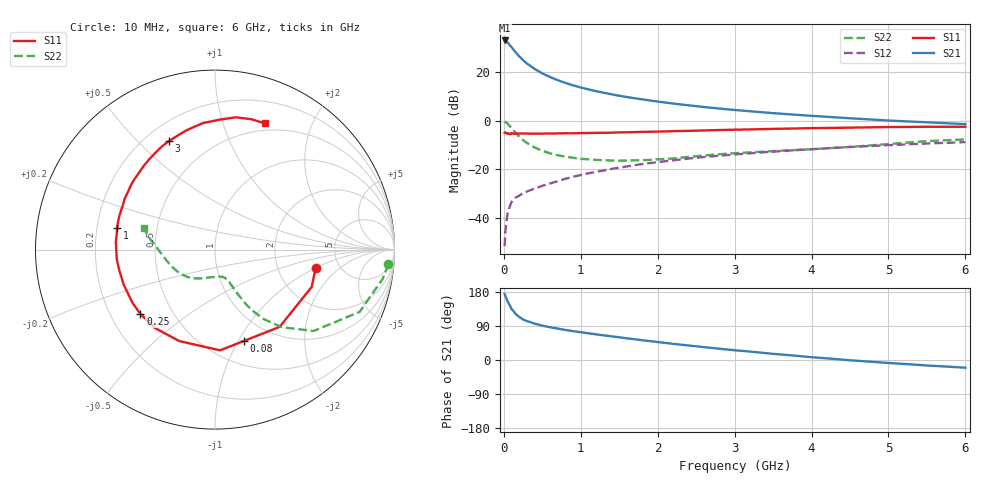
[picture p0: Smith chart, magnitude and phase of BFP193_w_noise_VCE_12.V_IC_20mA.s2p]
! Infineon Technologies  Discrete & RF Semiconductors
! BFP193
! VCE =  12. V,  IC =  20 mA
! Common Emitter S-Parameters:  Jan 2017
# GHz  S  MA  R  50
!  f  S11  S21  S12  S22
! GHz  MAG  ANG  MAG  ANG  MAG  ANG  MAG  ANG
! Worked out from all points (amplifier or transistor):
!   77 points, 10 MHz to 6 GHz, reference 50 ohm
!   highest |S21| = 33.2 dB at 10 MHz (marker M1)
!   |S21| within 3 dB of that: start of sweep to 106.7 MHz
!   unconditionally stable (mu >= 1): 918.5 MHz to 2.522 GHz
!   at 130 MHz: K = 0.37, MSG = 30.8 dB, |S12| = -32.4 dB
!   at 2.2 GHz: K = 1.02, MAG = 10.8 dB, |S12| = -16.3 dB
!   at 6 GHz: K = 0.88, MSG = 3.7 dB, |S12| = -8.8 dB
!   lowest NFmin = 1.05 dB at 450 MHz
!   S11 on the Smith chart (normalised r, x): 10 MHz: 3.31, -1.01; 80 MHz: 0.74, -1.06; 250 MHz: 0.33, -0.34; 1 GHz: 0.29, +0.10; 3 GHz: 0.29, +0.62; 6 GHz: 0.42, +1.39
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0.01  0.5699 -10.4  45.51 173.8  0.0026 71.2  0.9697 -4.8
0.02  0.5775 -21.1  45.2 168.7  0.0053 78.8  0.9477 -10.0
0.05  0.5613 -50.1  41.16 153.6  0.0124 67.8  0.8774 -23.3
0.08  0.5338 -72.4  35.91 143.2  0.0176 61.3  0.7702 -32.3
0.1  0.5619 -87.1  33.23 134.7  0.0211 58.8  0.7117 -39.6
0.15  0.5471 -111.4  26.31 122.1  0.026 52.5  0.5715 -49.2
0.2  0.5503 -127.5  21.4 113.6  0.0286 50.8  0.4722 -55.0
0.25  0.549 -139.2  17.85 107.1  0.0323 50.0  0.401 -58.3
0.3  0.5469 -147.2  15.21 102.7  0.0349 50.7  0.3487 -60.5
0.4  0.5448 -159.0  11.76 95.8  0.0399 52.4  0.2816 -62.8
0.5  0.5456 -167.7  9.521 90.7  0.0457 54.6  0.2413 -64.2
0.6  0.5499 -174.2  8.019 86.4  0.051 55.9  0.2134 -65.5
0.7  0.5499 -179.4  6.898 82.9  0.057 58.2  0.1949 -66.2
1  0.5585 167.7  4.884 73.3  0.0765 59.6  0.1646 -71.2
1.1  0.5622 163.8  4.453 70.5  0.0829 59.7  0.161 -73.1
1.5  0.5774 150.8  3.295 59.9  0.1086 58.4  0.1508 -84.9
2.1  0.6051 133.4  2.384 45.1  0.1472 53.6  0.1638 -107.1
3  0.6569 113.0  1.675 25.7  0.2024 44.7  0.2153 -134.6
3.1  0.6607 111.1  1.625 24.0  0.2081 43.6  0.2191 -137.2
4.1  0.7105 94.0  1.239 5.9  0.2657 33.2  0.2655 -162.1
5.1  0.7468 79.7  0.998 -9.1  0.3199 22.2  0.3414 174.7
6  0.7563 68.4  0.855 -20.3  0.3644 12.2  0.4143 162.8
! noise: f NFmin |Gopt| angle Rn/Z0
0.45  1.05  0.27  180  0.07
0.9  1.13  0.36  -178  0.07
1.9  1.76  0.56  -140  0.15
2.4  2.1  0.62  -124  0.34
